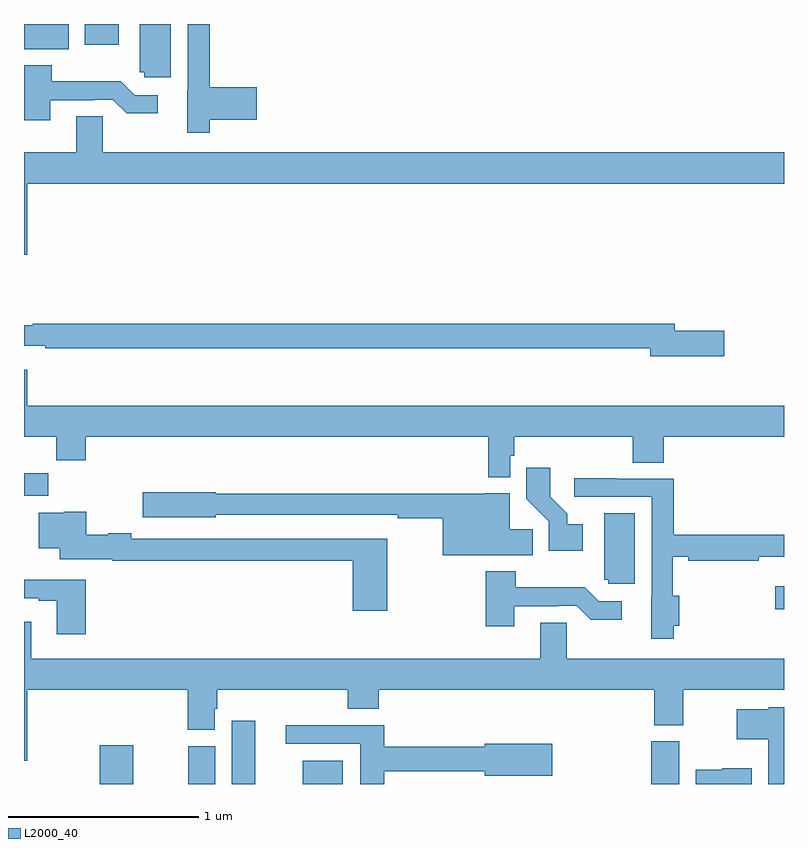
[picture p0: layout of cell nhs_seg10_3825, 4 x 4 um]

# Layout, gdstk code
import gdstk
lib = gdstk.Library(unit=1e-6, precision=1e-09)
def R(c, l, rs):  # rectangles x0, y0, x1, y1
    for r in rs: c.add(gdstk.rectangle(r[:2], r[2:], *l))
def P(c, l, *ps):  # polygons
    for p in ps: c.add(gdstk.Polygon(p, *l))
L2000_40 = (2000, 40)

nhs_seg10_3825 = lib.new_cell('nhs_seg10_3825')
R(nhs_seg10_3825, L2000_40, [(321.398,1286.5,321.576,1286.704), (321.865,1286.5,322.006,1286.7), (322.094,1286.5,322.216,1286.833), (322.466,1286.5,322.678,1286.623), (324.302,1286.5,324.448,1286.724), (324.954,1287.419,325,1287.541), (321,1288.016,321.128,1288.135), (321,1290.368,321.236,1290.5), (321.321,1290.392,321.499,1290.5)])
P(nhs_seg10_3825, L2000_40, [(321.977,1289.996),(322.225,1289.996),(322.225,1290.167),(321.977,1290.167),(321.977,1290.5),(321.861,1290.5),(321.861,1290.15),(321.86,1290.15),(321.86,1289.928),(321.977,1289.928)],
  [(321.772,1290.5),(321.608,1290.5),(321.608,1290.246),(321.633,1290.246),(321.633,1290.219),(321.772,1290.219)],
  [(321.139,1290.099),(321.368,1290.099),(321.368,1290.102),(321.468,1290.102),(321.541,1290.029),(321.703,1290.029),(321.703,1290.126),(321.582,1290.126),(321.509,1290.199),(321.147,1290.199),(321.147,1290.283),(321,1290.283),(321,1289.994),(321.139,1289.994)],
  [(321.016,1289.66),(325,1289.66),(325,1289.824),(321.414,1289.824),(321.414,1290.014),(321.275,1290.014),(321.275,1289.824),(321,1289.824),(321,1289.286),(321.016,1289.286)],
  [(324.685,1288.886),(324.424,1288.886),(324.424,1288.922),(321.046,1288.922),(321.046,1288.915),(321,1288.915),(321,1288.806),(321.112,1288.806),(321.112,1288.794),(324.296,1288.794),(324.296,1288.751),(324.685,1288.751)],
  [(323.559,1288.227),(323.579,1288.227),(323.579,1288.328),(324.203,1288.328),(324.203,1288.192),(324.368,1288.192),(324.368,1288.328),(325,1288.328),(325,1288.492),(321.016,1288.492),(321.016,1288.681),(321,1288.681),(321,1288.328),(321.169,1288.328),(321.169,1288.204),(321.326,1288.204),(321.326,1288.328),(323.443,1288.328),(323.443,1288.115),(323.559,1288.115)],
  [(323.941,1287.868),(323.86,1287.868),(323.86,1287.923),(323.77,1288.013),(323.77,1288.165),(323.644,1288.165),(323.644,1288.002),(323.763,1287.883),(323.763,1287.728),(323.941,1287.728)],
  [(324.419,1287.332),(324.449,1287.332),(324.449,1287.49),(324.415,1287.49),(324.415,1287.695),(324.496,1287.695),(324.496,1287.676),(324.866,1287.676),(324.866,1287.696),(325,1287.696),(325,1287.812),(324.419,1287.812),(324.419,1288.107),(324.119,1288.107),(324.119,1288.11),(323.895,1288.11),(323.895,1288.011),(324.303,1288.011),(324.303,1287.486),(324.302,1287.486),(324.302,1287.264),(324.419,1287.264)],
  [(323.678,1287.842),(323.557,1287.842),(323.557,1288.03),(323.424,1288.03),(323.424,1288.027),(322.008,1288.027),(322.008,1288.035),(321.624,1288.035),(321.624,1287.905),(322.008,1287.905),(322.008,1287.918),(322.966,1287.918),(322.966,1287.898),(323.204,1287.898),(323.204,1287.704),(323.678,1287.704)],
  [(322.913,1287.792),(321.564,1287.792),(321.564,1287.82),(321.444,1287.82),(321.444,1287.813),(321.328,1287.813),(321.328,1287.934),(321.21,1287.934),(321.21,1287.928),(321.077,1287.928),(321.077,1287.74),(321.188,1287.74),(321.188,1287.683),(321.464,1287.683),(321.464,1287.676),(322.73,1287.676),(322.73,1287.411),(322.913,1287.411)],
  [(324.214,1287.925),(324.053,1287.925),(324.053,1287.576),(324.075,1287.576),(324.075,1287.555),(324.214,1287.555)],
  [(323.581,1287.435),(323.81,1287.435),(323.81,1287.438),(323.91,1287.438),(323.983,1287.365),(324.145,1287.365),(324.145,1287.462),(324.024,1287.462),(323.951,1287.535),(323.589,1287.535),(323.589,1287.619),(323.429,1287.619),(323.429,1287.33),(323.581,1287.33)],
  [(321.326,1287.574),(321,1287.574),(321,1287.477),(321.077,1287.477),(321.077,1287.465),(321.173,1287.465),(321.173,1287.288),(321.326,1287.288)],
  [(321.016,1286.996),(321.863,1286.996),(321.863,1286.785),(322.003,1286.785),(322.003,1286.895),(322.016,1286.895),(322.016,1286.996),(322.703,1286.996),(322.703,1286.897),(322.868,1286.897),(322.868,1286.996),(324.317,1286.996),(324.317,1286.809),(324.469,1286.809),(324.469,1286.996),(325,1286.996),(325,1287.16),(323.856,1287.16),(323.856,1287.35),(323.717,1287.35),(323.717,1287.16),(321.037,1287.16),(321.037,1287.355),(321,1287.355),(321,1286.622),(321.016,1286.622)],
  [(325,1286.905),(324.921,1286.905),(324.921,1286.893),(324.75,1286.893),(324.75,1286.735),(324.917,1286.735),(324.917,1286.5),(325,1286.5)],
  [(322.895,1286.566),(323.426,1286.566),(323.426,1286.543),(323.779,1286.543),(323.779,1286.713),(323.426,1286.713),(323.426,1286.695),(322.895,1286.695),(322.895,1286.81),(322.377,1286.81),(322.377,1286.712),(322.769,1286.712),(322.769,1286.5),(322.895,1286.5)],
  [(324.829,1286.584),(324.675,1286.584),(324.675,1286.575),(324.536,1286.575),(324.536,1286.5),(324.829,1286.5)])

lib.write_gds('nhs_seg10_3825.gds')
